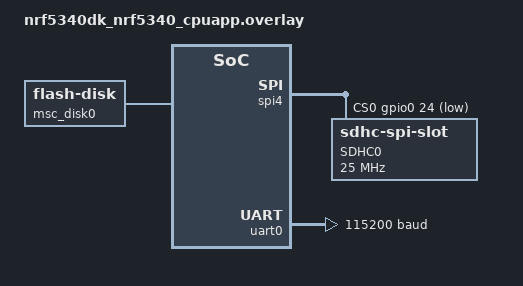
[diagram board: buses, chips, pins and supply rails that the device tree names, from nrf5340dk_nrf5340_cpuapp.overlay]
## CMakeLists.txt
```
cmake_minimum_required(VERSION 3.20.0)
find_package(Zephyr REQUIRED HINTS $ENV{ZEPHYR_BASE})

project(SDcard)

target_sources(app PRIVATE src/main.c)
```

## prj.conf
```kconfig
CONFIG_LOG_BACKEND_UART=y
CONFIG_SPI=y
CONFIG_STDOUT_CONSOLE=y
CONFIG_DISK_ACCESS=y
CONFIG_FILE_SYSTEM=y
CONFIG_FAT_FILESYSTEM_ELM=y
CONFIG_PRINTK=y
CONFIG_MAIN_STACK_SIZE=2048
CONFIG_SPI_NRFX_RAM_BUFFER_SIZE=512
CONFIG_DISK_DRIVER_SDMMC=y

# UART support
CONFIG_LOG=y
CONFIG_SERIAL=y
```

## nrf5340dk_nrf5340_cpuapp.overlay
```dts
// &spi4 {
    //     status = "okay";
    //     cs-gpios = <&gpio0 24 GPIO_ACTIVE_LOW>;
    //     sdhc0: sdhc@0 {
        //         compatible = "zephyr,sdhc-spi-slot";
        //         reg = <0>;
        //         status = "okay";
        //         mmc{
            //             compatible = "zephyr,sdmmc-disk";
            //             status = "okay";
        //         };
        //         label = "SDHC0";
        //         spi-max-frequency = <25000000>;
    //     };
// };

// &pinctrl {
    //         spi4_default: spi4_default {
        //                 group1 {
            //                         psels = <NRF_PSEL(SPIM_SCK, 0, 5)>,
                                               //                                                    <NRF_PSEL(SPIM_MISO, 0, 27)>,
                                               //                                                    <NRF_PSEL(SPIM_MOSI, 0, 6)>;
        //                 };
    //         };

    //         spi4_sleep: spi4_sleep {
        //                 group1 {
            //                         psels = <NRF_PSEL(SPIM_SCK, 0, 5)>,
                                               //                                                    <NRF_PSEL(SPIM_MISO, 0, 27)>,
                                               //                                                    <NRF_PSEL(SPIM_MOSI, 0, 6)>;
            //                         low-power-enable;
        //                 };
    //         };

    //         uart0_default: uart0_default {
        //                 group1 {
            //                         psels = <NRF_PSEL(UART_TX, 1, 5)>,
                                               //                                                    <NRF_PSEL(UART_RTS, 1, 4)>;
        //                 };
        //                 group2 {
            //                         psels = <NRF_PSEL(UART_RX, 1, 5)>,
                                               //                                                    <NRF_PSEL(UART_CTS, 1, 4)>;
            //                         bias-pull-up;
        //                 };
    //         };
// };


// / {
    //     msc_disk0 {
        //         status = "okay";
        //         compatible = "zephyr,flash-disk";
        //         partition = <&storage_partition>;
        //         disk-name = "SD";
        //         /* cache-size == page erase size */
        //         cache-size = <32768>;
    //     };
// };

// &uart0 {
    //     status = "okay";
    //     current-speed = <115200>;
// };


// To get started, press Ctrl+Space to bring up the completion menu and view the available nodes.

// You can also use the buttons in the sidebar to perform actions on nodes.
// Actions currently available include:

// * Enabling / disabling the node
// * Adding the bus to a bus
// * Removing the node
// * Connecting ADC channels

// For more help, browse the DeviceTree documentation at https: //docs.zephyrproject.org/latest/guides/dts/index.html
// You can also visit the nRF DeviceTree extension documentation at https: //nrfconnect.github.io/vscode-nrf-connect/devicetree/nrfdevicetree.html

&spi4 {
    status = "okay";
    cs-gpios = <&gpio0 24 GPIO_ACTIVE_LOW>;
    sdhc0: sdhc@0 {
        compatible = "zephyr,sdhc-spi-slot";
        reg = <0>;
        status = "okay";
        mmc{
            compatible = "zephyr,sdmmc-disk";
            status = "okay";
        };
        label = "SDHC0";
        spi-max-frequency = <25000000>;
    };
};
&pinctrl {
    spi4_default: spi4_default {
        group1 {
            psels = <NRF_PSEL(SPIM_SCK, 0, 5)>,
                    <NRF_PSEL(SPIM_MISO, 0, 27)>,
                    <NRF_PSEL(SPIM_MOSI, 0, 6)>;
        };
    };

    spi4_sleep: spi4_sleep {
        group1 {
            psels = <NRF_PSEL(SPIM_SCK, 0, 5)>,
                    <NRF_PSEL(SPIM_MISO, 0, 27)>,
                    <NRF_PSEL(SPIM_MOSI, 0, 6)>;
            low-power-enable;
        };
    };

    uart0_default: uart0_default {
        group1 {
            psels = <NRF_PSEL(UART_TX, 1, 5)>,
                    <NRF_PSEL(UART_RTS, 1, 4)>;
        };
        group2 {
            psels = <NRF_PSEL(UART_RX, 1, 5)>,
                    <NRF_PSEL(UART_CTS, 1, 4)>;
            bias-pull-up;
        };
    };
};

&uart0 {
    status = "okay";
    current-speed = <115200>;
};


/ {
    msc_disk0 {
        status = "okay";
        compatible = "zephyr,flash-disk";
        partition = <&storage_partition>;
        disk-name = "SD";
        /* cache-size == page erase size */
        cache-size = <32768>;
    };
};
```

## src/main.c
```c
// #include <zephyr/kernel.h>
// #include <zephyr/fs/fs.h>
// #include <zephyr/storage/disk_access.h>
// #include <zephyr/logging/log.h>

// LOG_MODULE_REGISTER(sd_card, LOG_LEVEL_INF);

// #define MOUNT_POINT "/SDCARD"

// static struct fs_mount_t sd_card_mount = {
//     .type = FS_FATFS,
//     .mnt_point = MOUNT_POINT,
// };

// void main(void)
// {
//         int ret;
//         struct fs_file_t file;

//         // Initialize the SPI-based disk
//         LOG_INF("Initializing SD card over SPI...");
//         ret = disk_access_init("SD");
//         if (ret)
//         {
//                 LOG_ERR("Disk access initialization failed (error: %d)", ret);
//                 return;
//         }

//         // Mount the file system
//         LOG_INF("Mounting SD card...");
//         ret = fs_mount(&sd_card_mount);
//         if (ret)
//         {
//                 LOG_ERR("Failed to mount SD card (error: %d)", ret);
//                 return;
//         }

//         LOG_INF("SD card mounted at '%s'", MOUNT_POINT);

//         // Open a file for writing
//         LOG_INF("Opening file for writing...");
//         fs_file_t_init(&file);
//         ret = fs_open(&file, MOUNT_POINT "/test.txt", FS_O_CREATE | FS_O_RDWR);
//         if (ret)
//         {
//                 LOG_ERR("Failed to open file (error: %d)", ret);
//                 return;
//         }

//         // Write data to the file
//         const char *write_data = "Hello, Zephyr SPI SD card!";
//         LOG_INF("Writing to file...");
//         ret = fs_write(&file, write_data, strlen(write_data));
//         if (ret < 0)
//         {
//                 LOG_ERR("Failed to write to file (error: %d)", ret);
//                 fs_close(&file);
//                 return;
//         }

//         fs_close(&file);
//         LOG_INF("File written successfully!");

//         // Open the file again for reading
//         LOG_INF("Opening file for reading...");
//         ret = fs_open(&file, MOUNT_POINT "/test.txt", FS_O_READ);
//         if (ret)
//         {
//                 LOG_ERR("Failed to open file (error: %d)", ret);
//                 return;
//         }

//         // Read data from the file
//         char read_data[64];
//         memset(read_data, 0, sizeof(read_data));
//         LOG_INF("Reading from file...");
//         ret = fs_read(&file, read_data, sizeof(read_data) - 1);
//         if (ret < 0)
//         {
//                 LOG_ERR("Failed to read from file (error: %d)", ret);
//                 fs_close(&file);
//                 return;
//         }

//         LOG_INF("Read data: %s", read_data);

//         fs_close(&file);

//         // Unmount the file system
//         LOG_INF("Unmounting SD card...");
//         fs_unmount(&sd_card_mount);
//         LOG_INF("SD card unmounted successfully!");
// }





#include <string.h>
#include <stdio.h>
#include <stdlib.h>
#include <ctype.h>

#include <zephyr/device.h>
#include <zephyr/devicetree.h>
#include <zephyr/drivers/flash.h>
#include <zephyr/kernel.h>
#include <zephyr/logging/log.h>
#include <zephyr/zephyr.h>
#include <zephyr/kernel.h>
#include <zephyr/device.h>
#include <zephyr/storage/disk_access.h>
#include <zephyr/logging/log.h>
#include <zephyr/fs/fs.h>
#include <ff.h>
#include <zephyr/drivers/gpio.h>
#include <zephyr/storage/flash_map.h>

/* GPIO led code */
//Initialization LED1 for camera capturing
#define LED1_NODE DT_ALIAS(led0)
static const struct gpio_dt_spec led1 = GPIO_DT_SPEC_GET(LED1_NODE, gpios);

LOG_MODULE_REGISTER(main);

#define DISK_DRIVE_NAME "SD"
#define DISK_MOUNT_PT "/" DISK_DRIVE_NAME ":"

static FATFS fat_fs;
/* mounting info */
static struct fs_mount_t mp = {
	.type = FS_FATFS,
	.fs_data = &fat_fs,	
};

static int write_index = 1;
static int write_index_max = 64000;
static const char *disk_mount_pt = DISK_MOUNT_PT;


struct fs_file_t file;

char filename[30];

void main(void)
{	
	static const char *disk_pdrv = DISK_DRIVE_NAME;
	
	mp.mnt_point = disk_mount_pt;

	int res = fs_mount(&mp);	

	int rc; // to store return values of functions	
	int ret;	

	k_msleep(1000);

	// camera_device = device_get_binding(DT_NODE_FULL_NAME(DT_NODELABEL(arducam_mega)));	

	while (1) {
		
		fs_file_t_init(&file);		
		if (write_index > write_index_max){
			write_index = 1;
		}

		sprintf(&filename, "/SD:/%d_01.txt", write_index);	
			
		// fs_unlink(filename);	     
		
		ret = fs_open(&file, filename, FS_O_CREATE | FS_O_WRITE | FS_O_APPEND);		
		
		// arducam_mega_take_picture(camera_device, CAM_IMAGE_MODE_FHD, CAM_IMAGE_PIX_FMT_JPG);
		gpio_pin_configure_dt(&led1, GPIO_OUTPUT | GPIO_ACTIVE_LOW);
		gpio_pin_set_dt(&led1, 1);
		K_MSEC(100);
		char cam_buff[20]="hello SDCard";
		uint8_t bytes_read;		
		do {			
			// bytes_read =
			// 	arducam_mega_read_image_buf(camera_device, cam_buff, 128);			
			
			ret = fs_write(&file, &cam_buff, sizeof(cam_buff));

                        if(ret==0)
                        {
                                printk("succesfully write\n");
                        }

                        else printk("write failed\n");		

		} while (bytes_read > 0);

		gpio_pin_configure_dt(&led1, GPIO_OUTPUT | GPIO_ACTIVE_LOW);
		gpio_pin_set_dt(&led1, 0);
		K_MSEC(100);		
		ret = fs_close(&file);
		
		write_index++;
		
		k_msleep(1000);
	}
}
```
